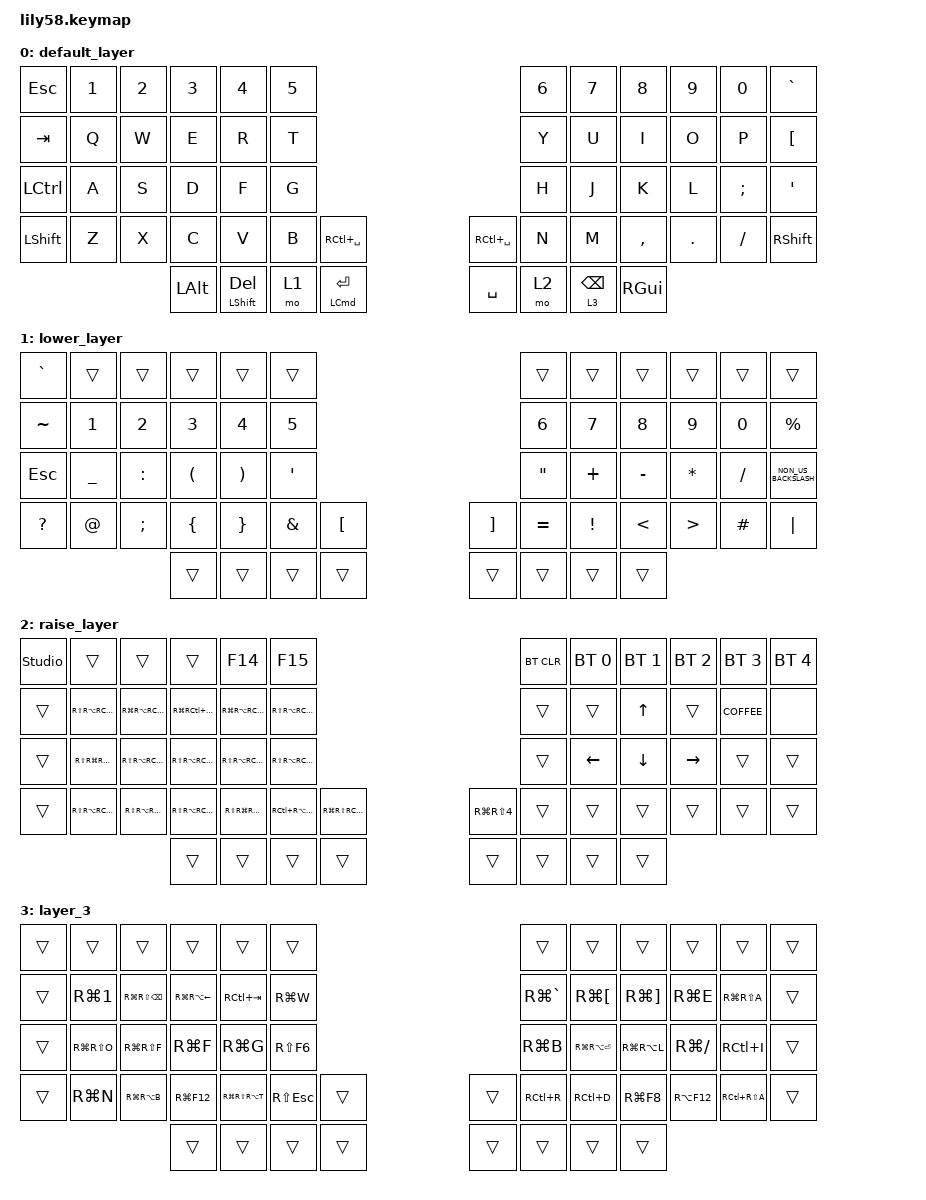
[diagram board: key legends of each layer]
/*
 * Copyright (c) 2020 The ZMK Contributors
 *
 * SPDX-License-Identifier: MIT
 */

#include <behaviors.dtsi>
#include <dt-bindings/zmk/bt.h>
#include <dt-bindings/zmk/keys.h>

/ {
    keymap {
        compatible = "zmk,keymap";

        default_layer {
            // ------------------------------------------------------------------------------------------------------------
            // |  ESC  |  1  |  2  |  3   |  4   |  5   |                   |  6   |  7    |  8    |  9   |   0   |   `   |
            // |  TAB  |  Q  |  W  |  E   |  R   |  T   |                   |  Y   |  U    |  I    |  O   |   P   |   -   |
            // |  CTRL |  A  |  S  |  D   |  F   |  G   |                   |  H   |  J    |  K    |  L   |   ;   |   '   |
            // | SHIFT |  Z  |  X  |  C   |  V   |  B   |   "["  |  |  "]"  |  N   |  M    |  ,    |  .   |   /   | SHIFT |
            //                     | ALT  | GUI  | LOWER|  SPACE |  | ENTER | RAISE| BSPC  | GUI   |

            bindings = <
&kp ESC    &kp N1  &kp N2  &kp N3    &kp N4                 &kp N5                                           &kp N6  &kp N7           &kp N8     &kp N9   &kp N0    &kp GRAVE
&kp TAB    &kp Q   &kp W   &kp E     &kp R                  &kp T                                            &kp Y   &kp U            &kp I      &kp O    &kp P     &kp LEFT_BRACKET
&kp LCTRL  &kp A   &kp S   &kp D     &kp F                  &kp G                                            &kp H   &kp J            &kp K      &kp L    &kp SEMI  &kp SQT
&kp LSHFT  &kp Z   &kp X   &kp C     &kp V                  &kp B   &kp RC(SPACE)             &kp RC(SPACE)  &kp N   &kp M            &kp COMMA  &kp DOT  &kp FSLH  &kp RSHFT
                           &kp LALT  &mt LEFT_SHIFT DELETE  &mo 1   &mt LEFT_COMMAND ENTER    &kp SPACE      &mo 2   &lt 3 BACKSPACE  &kp RGUI
            >;
        };

        lower_layer {
            // ------------------------------------------------------------------------------------------------------------
            // |       | BRDn | BRUp |  MUT |  Vo- |  Vo+ |                   |      |       |       |      |       |       |
            // |  F1   |  F2  |  F3  |  F4  |  F5  |  F6  |                   |  F7  |  F8   |  F9   |  F10 |  F11  |  F12  |
            // |   `   |  !   |  @   |  #   |  $   |  %   |                   |  ^   |  &    |  *    |  (   |   )   |   ~   |
            // |       |      |      |      |      |      |        |  |       |      |  _    |  +    |  {   |   }   |  "|"  |
            //                       |      |      |      |        |  |       |      |       |       |

            bindings = <
&kp GRAVE     &trans          &trans         &trans                &trans                 &trans                                                &trans             &trans           &trans         &trans            &trans     &trans
&kp TILDE     &kp NUMBER_1    &kp NUMBER_2   &kp NUMBER_3          &kp NUMBER_4           &kp N5                                                &kp NUMBER_6       &kp N7           &kp N8         &kp N9            &kp N0     &kp PERCENT
&kp ESCAPE    &kp UNDERSCORE  &kp COLON      &kp LEFT_PARENTHESIS  &kp RIGHT_PARENTHESIS  &kp SQT                                               &kp DOUBLE_QUOTES  &kp PLUS         &kp MINUS      &kp ASTERISK      &kp SLASH  &kp NON_US_BACKSLASH
&kp QUESTION  &kp AT_SIGN     &kp SEMICOLON  &kp LEFT_BRACE        &kp RIGHT_BRACE        &kp AMPERSAND  &kp LEFT_BRACKET    &kp RIGHT_BRACKET  &kp EQUAL          &kp EXCLAMATION  &kp LESS_THAN  &kp GREATER_THAN  &kp HASH   &kp PIPE
                                             &trans                &trans                 &trans         &trans              &trans             &trans             &trans           &trans
            >;
        };

        raise_layer {
            // ------------------------------------------------------------------------------------------------------------
            // |       |     |     |      |      |      |                   | Bt clear | Bt 0 | Bt 1 | Bt 2 | Bt 3 | Bt 4 |
            // |   `   |  1  |  2  |  3   |  4   |  5   |                   |          |      |      |      |      |      |
            // |   F1  |  F2 |  F3 |  F4  |  F5  |  F6  |                   |          |  <-  |  v   |  ^   |  ->  |      |
            // |   F7  |  F8 |  F9 |  F10 |  F11 |  F12 |        |  |       |    +     |  -   |  =   |  [   |  ]   |  \   |
            //                     |      |      |      |        |  |       |          |      |      |

            bindings = <
&studio_unlock  &trans                 &trans                 &trans                 &kp F14                &kp F15                                                                  &bt BT_CLR  &bt BT_SEL 0  &bt BT_SEL 1  &bt BT_SEL 2     &bt BT_SEL 3  &bt BT_SEL 4
&trans          &kp RS(RA(RC(RG(Q))))  &kp RG(RA(RC(RS(W))))  &kp RG(RC(RA(RS(E))))  &kp RG(RA(RC(RS(R))))  &kp RS(RA(RC(RG(T))))                                                    &trans      &trans        &kp UP_ARROW  &trans           &kp K_COFFEE  &none
&trans          &kp RS(RG(RA(RC(A))))  &kp RS(RA(RC(RG(S))))  &kp RS(RA(RC(RG(D))))  &kp RS(RA(RC(RG(F))))  &kp RS(RA(RC(RG(G))))                                                    &trans      &kp LEFT      &kp DOWN      &kp RIGHT_ARROW  &trans        &trans
&trans          &kp RS(RA(RC(RG(Z))))  &kp RS(RA(RG(RC(X))))  &kp RS(RA(RC(RG(C))))  &kp RS(RG(RA(RC(V))))  &kp RC(RA(RS(RG(B))))  &kp RG(RS(RC(NUMBER_4)))    &kp RG(RS(NUMBER_4))  &trans      &trans        &trans        &trans           &trans        &trans
                                                              &trans                 &trans                 &trans                 &trans                      &trans                &trans      &trans        &trans
            >;
        };

        layer_3 {
            bindings = <
&trans  &trans            &trans                 &trans            &trans             &trans                            &trans         &trans                &trans                 &trans         &trans         &trans
&trans  &kp RG(NUMBER_1)  &kp RG(RS(BACKSPACE))  &kp RG(RA(LEFT))  &kp RC(TAB)        &kp RG(W)                         &kp RG(GRAVE)  &kp RG(LEFT_BRACKET)  &kp RG(RIGHT_BRACKET)  &kp RG(E)      &kp RG(RS(A))  &trans
&trans  &kp RG(RS(O))     &kp RG(RS(F))          &kp RG(F)         &kp RG(G)          &kp RS(F6)                        &kp RG(B)      &kp RG(RA(ENTER))     &kp RG(RA(L))          &kp RG(SLASH)  &kp RC(I)      &trans
&trans  &kp RG(N)         &kp RG(RA(B))          &kp RG(F12)       &kp RG(RS(RA(T)))  &kp RS(ESCAPE)  &trans    &trans  &kp RC(R)      &kp RC(D)             &kp RG(F8)             &kp RA(F12)    &kp RC(RS(A))  &trans
                                                 &trans            &trans             &trans          &trans    &trans  &trans         &trans                &trans
            >;
        };
    };
};
